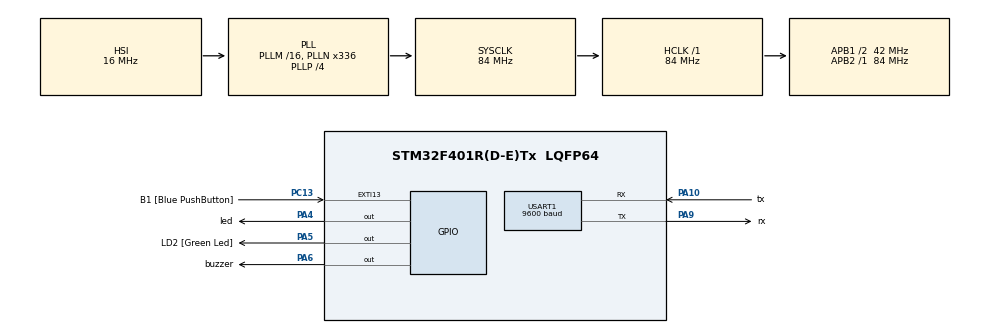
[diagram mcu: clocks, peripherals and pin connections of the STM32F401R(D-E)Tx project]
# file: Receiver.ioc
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Mcu.Family=STM32F4
Mcu.Name=STM32F401R(D-E)Tx
Mcu.Package=LQFP64
NVIC.PriorityGroup=NVIC_PRIORITYGROUP_0
NVIC.USART1_IRQn=true\:0\:0\:false\:false\:true\:true\:true\:true
PA10.GPIO_Label=tx
PA10.Mode=Asynchronous
PA10.Signal=USART1_RX
PA13.GPIO_Label=TMS
PA13.Mode=Serial_Wire
PA13.Signal=SYS_JTMS-SWDIO
PA14.GPIO_Label=TCK
PA14.Mode=Serial_Wire
PA14.Signal=SYS_JTCK-SWCLK
PA2.GPIO_Label=tx_pin
PA2.GPIO_Mode=GPIO_MODE_AF_PP
PA2.GPIO_PuPd=GPIO_NOPULL
PA2.GPIO_Speed=GPIO_SPEED_FREQ_LOW
PA2.Signal=USART2_TX
PA3.GPIO_Label=rx_pin
PA3.GPIO_Mode=GPIO_MODE_AF_PP
PA3.GPIO_PuPd=GPIO_NOPULL
PA3.GPIO_Speed=GPIO_SPEED_FREQ_LOW
PA3.Signal=USART2_RX
PA4.GPIO_Label=led
PA4.GPIO_PuPd=GPIO_NOPULL
PA4.PinState=GPIO_PIN_SET
PA4.Signal=GPIO_Output
PA5.GPIO_Label=LD2 [Green Led]
PA5.GPIO_Mode=GPIO_MODE_OUTPUT_PP
PA5.GPIO_PuPd=GPIO_NOPULL
PA5.GPIO_Speed=GPIO_SPEED_FREQ_LOW
PA5.PinState=GPIO_PIN_SET
PA5.Signal=GPIO_Output
PA6.GPIO_Label=buzzer
PA6.Signal=GPIO_Output
PA9.GPIO_Label=rx
PA9.Mode=Asynchronous
PA9.Signal=USART1_TX
PB3.GPIO_Label=SWO
PB3.Signal=SYS_JTDO-SWO
PC13-ANTI_TAMP.GPIO_Label=B1 [Blue PushButton]
PC13-ANTI_TAMP.GPIO_ModeDefaultEXTI=GPIO_MODE_IT_FALLING
PC13-ANTI_TAMP.GPIO_PuPd=GPIO_NOPULL
PC13-ANTI_TAMP.Signal=GPXTI13
PC14-OSC32_IN.Mode=LSE-External-Oscillator
PC14-OSC32_IN.Signal=RCC_OSC32_IN
PC15-OSC32_OUT.Mode=LSE-External-Oscillator
PC15-OSC32_OUT.Signal=RCC_OSC32_OUT
PH0\ -\ OSC_IN.Mode=HSE-External-Clock-Source
PH0\ -\ OSC_IN.Signal=RCC_OSC_IN
PH1\ -\ OSC_OUT.Mode=HSE-External-Clock-Source
PH1\ -\ OSC_OUT.Signal=RCC_OSC_OUT
ProjectManager.HeapSize=0x200
ProjectManager.StackSize=0x400
ProjectManager.TargetToolchain=STM32CubeIDE
RCC.48MHZClocksFreq_Value=48000000
RCC.AHBFreq_Value=84000000
RCC.APB1CLKDivider=RCC_HCLK_DIV2
RCC.APB1Freq_Value=42000000
RCC.APB1TimFreq_Value=84000000
RCC.APB2Freq_Value=84000000
RCC.APB2TimFreq_Value=84000000
RCC.CortexFreq_Value=84000000
RCC.HCLKFreq_Value=84000000
RCC.HSE_VALUE=8000000
RCC.HSI_VALUE=16000000
RCC.PLLN=336
RCC.PLLP=RCC_PLLP_DIV4
RCC.PLLQ=7
RCC.SYSCLKFreq_VALUE=84000000
RCC.SYSCLKSource=RCC_SYSCLKSOURCE_PLLCLK
RCC.VCOOutputFreq_Value=336000000
USART1.BaudRate=9600
USART1.VirtualMode=VM_ASYNC
board=NUCLEO-F401RE

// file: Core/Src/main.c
/* USER CODE BEGIN Header */
/**
  ******************************************************************************
  * @file           : main.c
  * @brief          : Main program body
  ******************************************************************************
  * @attention
  *
  * Copyright (c) 2024 STMicroelectronics.
  * All rights reserved.
  *
  * This software is licensed under terms that can be found in the LICENSE file
  * in the root directory of this software component.
  * If no LICENSE file comes with this software, it is provided AS-IS.
  *
  ******************************************************************************
  */
/* USER CODE END Header */
#include "main.h"

UART_HandleTypeDef huart1;

void SystemClock_Config(void);
static void MX_GPIO_Init(void);
static void MX_USART1_UART_Init(void);

/* USER CODE BEGIN 0 */
// error_code = 1: message is not sent correctly.
// error_code = 2: receive wrong feedback.
// error_code = 3: didn't receive feedback.
void log_error_to_flash(uint32_t error_code) {
    uint32_t address = 0x08080000;
    HAL_FLASH_Unlock();
    HAL_FLASH_Program(FLASH_TYPEPROGRAM_WORD, address, error_code);
    HAL_FLASH_Lock();
}
/* USER CODE END 0 */

int main(void)
{

  /* MCU Configuration--------------------------------------------------------*/

  /* Reset of all peripherals, Initializes the Flash interface and the Systick. */
  HAL_Init();

  /* Configure the system clock */
  SystemClock_Config();

  /* Initialize all configured peripherals */
  MX_GPIO_Init();
  MX_USART1_UART_Init();

  /* Infinite loop */
  /* USER CODE BEGIN WHILE */
  HAL_GPIO_WritePin(led_GPIO_Port, led_Pin, GPIO_PIN_RESET);
  HAL_GPIO_WritePin(buzzer_GPIO_Port, buzzer_Pin, GPIO_PIN_RESET);
  char receiveData = '\0';
  const char sendData = '1';
  while (1)
  {
	  if (HAL_UART_Receive(&huart1, (uint8_t*)&receiveData, 1, 3000) == HAL_OK) {
		  if (receiveData == 'H') {
			  if (HAL_UART_Transmit(&huart1, (uint8_t*)&sendData, 1, 1000) != HAL_OK) {
				  log_error_to_flash(1);
			  }
			  int Hz = 4;
			  for (int i = 0; i < 60; ++i) {
				  for (int j = 0; j < Hz; ++j) {
					  HAL_GPIO_WritePin(buzzer_GPIO_Port, buzzer_Pin, GPIO_PIN_SET);
					  HAL_GPIO_WritePin(led_GPIO_Port, led_Pin, GPIO_PIN_SET);
					  HAL_Delay(500 / Hz);
					  HAL_GPIO_WritePin(led_GPIO_Port, led_Pin, GPIO_PIN_RESET);
					  HAL_GPIO_WritePin(buzzer_GPIO_Port, buzzer_Pin, GPIO_PIN_RESET);
					  HAL_Delay(500 / Hz);
				  }
			  }
		  }
	  } else {
		  printf("Receive timeout\n");
	  }
    /* USER CODE END WHILE */

  }
}

void SystemClock_Config(void)
{
  RCC_OscInitTypeDef RCC_OscInitStruct = {0};
  RCC_ClkInitTypeDef RCC_ClkInitStruct = {0};

  /** Configure the main internal regulator output voltage
  */
  __HAL_RCC_PWR_CLK_ENABLE();
  __HAL_PWR_VOLTAGESCALING_CONFIG(PWR_REGULATOR_VOLTAGE_SCALE2);

  /** Initializes the RCC Oscillators according to the specified parameters
  * in the RCC_OscInitTypeDef structure.
  */
  RCC_OscInitStruct.OscillatorType = RCC_OSCILLATORTYPE_HSI;
  RCC_OscInitStruct.HSIState = RCC_HSI_ON;
  RCC_OscInitStruct.HSICalibrationValue = RCC_HSICALIBRATION_DEFAULT;
  RCC_OscInitStruct.PLL.PLLState = RCC_PLL_ON;
  RCC_OscInitStruct.PLL.PLLSource = RCC_PLLSOURCE_HSI;
  RCC_OscInitStruct.PLL.PLLM = 16;
  RCC_OscInitStruct.PLL.PLLN = 336;
  RCC_OscInitStruct.PLL.PLLP = RCC_PLLP_DIV4;
  RCC_OscInitStruct.PLL.PLLQ = 7;
  if (HAL_RCC_OscConfig(&RCC_OscInitStruct) != HAL_OK)
  {
    Error_Handler();
  }

  /** Initializes the CPU, AHB and APB buses clocks
  */
  RCC_ClkInitStruct.ClockType = RCC_CLOCKTYPE_HCLK|RCC_CLOCKTYPE_SYSCLK
                              |RCC_CLOCKTYPE_PCLK1|RCC_CLOCKTYPE_PCLK2;
  RCC_ClkInitStruct.SYSCLKSource = RCC_SYSCLKSOURCE_PLLCLK;
  RCC_ClkInitStruct.AHBCLKDivider = RCC_SYSCLK_DIV1;
  RCC_ClkInitStruct.APB1CLKDivider = RCC_HCLK_DIV2;
  RCC_ClkInitStruct.APB2CLKDivider = RCC_HCLK_DIV1;

  if (HAL_RCC_ClockConfig(&RCC_ClkInitStruct, FLASH_LATENCY_2) != HAL_OK)
  {
    Error_Handler();
  }
}

static void MX_USART1_UART_Init(void)
{

  huart1.Instance = USART1;
  huart1.Init.BaudRate = 9600;
  huart1.Init.WordLength = UART_WORDLENGTH_8B;
  huart1.Init.StopBits = UART_STOPBITS_1;
  huart1.Init.Parity = UART_PARITY_NONE;
  huart1.Init.Mode = UART_MODE_TX_RX;
  huart1.Init.HwFlowCtl = UART_HWCONTROL_NONE;
  huart1.Init.OverSampling = UART_OVERSAMPLING_16;
  if (HAL_UART_Init(&huart1) != HAL_OK)
  {
    Error_Handler();
  }

}

static void MX_GPIO_Init(void)
{
  GPIO_InitTypeDef GPIO_InitStruct = {0};

  /* GPIO Ports Clock Enable */
  __HAL_RCC_GPIOC_CLK_ENABLE();
  __HAL_RCC_GPIOH_CLK_ENABLE();
  __HAL_RCC_GPIOA_CLK_ENABLE();
  __HAL_RCC_GPIOB_CLK_ENABLE();

  /*Configure GPIO pin Output Level */
  HAL_GPIO_WritePin(GPIOA, led_Pin|LD2_Pin, GPIO_PIN_SET);

  /*Configure GPIO pin Output Level */
  HAL_GPIO_WritePin(buzzer_GPIO_Port, buzzer_Pin, GPIO_PIN_RESET);

  /*Configure GPIO pin : B1_Pin */
  GPIO_InitStruct.Pin = B1_Pin;
  GPIO_InitStruct.Mode = GPIO_MODE_IT_FALLING;
  GPIO_InitStruct.Pull = GPIO_NOPULL;
  HAL_GPIO_Init(B1_GPIO_Port, &GPIO_InitStruct);

  /*Configure GPIO pins : tx_pin_Pin rx_pin_Pin */
  GPIO_InitStruct.Pin = tx_pin_Pin|rx_pin_Pin;
  GPIO_InitStruct.Mode = GPIO_MODE_AF_PP;
  GPIO_InitStruct.Pull = GPIO_NOPULL;
  GPIO_InitStruct.Speed = GPIO_SPEED_FREQ_LOW;
  GPIO_InitStruct.Alternate = GPIO_AF7_USART2;
  HAL_GPIO_Init(GPIOA, &GPIO_InitStruct);

  /*Configure GPIO pins : led_Pin LD2_Pin buzzer_Pin */
  GPIO_InitStruct.Pin = led_Pin|LD2_Pin|buzzer_Pin;
  GPIO_InitStruct.Mode = GPIO_MODE_OUTPUT_PP;
  GPIO_InitStruct.Pull = GPIO_NOPULL;
  GPIO_InitStruct.Speed = GPIO_SPEED_FREQ_LOW;
  HAL_GPIO_Init(GPIOA, &GPIO_InitStruct);

}

void Error_Handler(void)
{
  __disable_irq();
  while (1)
  {
  }
}
